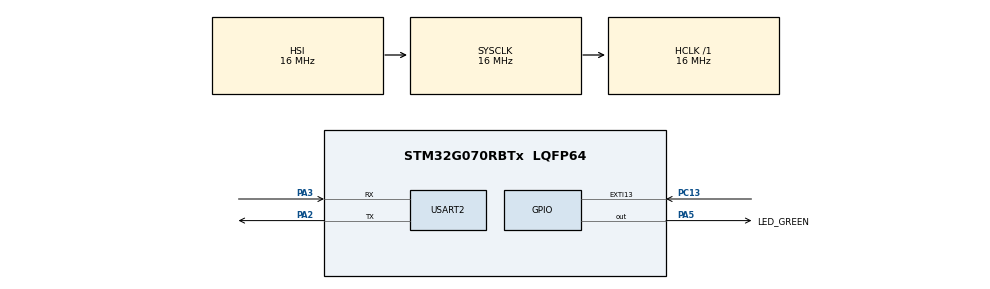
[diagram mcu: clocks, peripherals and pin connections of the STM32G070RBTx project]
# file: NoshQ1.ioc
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Mcu.Family=STM32G0
Mcu.Name=STM32G070RBTx
Mcu.Package=LQFP64
NVIC.TIM3_IRQn=true\:0\:0\:false\:false\:true\:true\:true\:true
PA13.GPIO_Label=TMS
PA13.Mode=Serial_Wire
PA13.Signal=SYS_SWDIO
PA14-BOOT0.GPIO_Label=TCK
PA14-BOOT0.Mode=Serial_Wire
PA14-BOOT0.Signal=SYS_SWCLK
PA2.GPIO_PuPd=GPIO_PULLUP
PA2.Mode=Asynchronous
PA2.Signal=USART2_TX
PA3.GPIO_PuPd=GPIO_PULLUP
PA3.Mode=Asynchronous
PA3.Signal=USART2_RX
PA5.GPIO_Label=LED_GREEN
PA5.GPIO_Speed=GPIO_SPEED_FREQ_HIGH
PA5.Signal=GPIO_Output
PC13.Signal=GPXTI13
PC14-OSC32_IN\ (PC14).Mode=LSE-External-Oscillator
PC14-OSC32_IN\ (PC14).Signal=RCC_OSC32_IN
PC15-OSC32_OUT\ (PC15).Mode=LSE-External-Oscillator
PC15-OSC32_OUT\ (PC15).Signal=RCC_OSC32_OUT
PF0-OSC_IN\ (PF0).GPIO_Label=MCO
PF0-OSC_IN\ (PF0).Mode=HSE-External-Clock-Source
PF0-OSC_IN\ (PF0).Signal=RCC_OSC_IN
ProjectManager.HeapSize=0x200
ProjectManager.StackSize=0x400
ProjectManager.TargetToolchain=STM32CubeIDE
RCC.AHBFreq_Value=16000000
RCC.CortexFreq_Value=16000000
RCC.EXTERNAL_CLOCK_VALUE=12288000
RCC.HCLKFreq_Value=16000000
RCC.HSE_VALUE=8000000
RCC.HSI_VALUE=16000000
RCC.SYSCLKFreq_VALUE=16000000
RCC.VCOOutputFreq_Value=128000000
TIM3.Prescaler=15999
USART2.VirtualMode-Asynchronous=VM_ASYNC
USART2.WordLength=WORDLENGTH_7B
VP_TIM3_VS_ClockSourceINT.Mode=Internal
board=NUCLEO-G070RB

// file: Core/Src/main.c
/* USER CODE BEGIN Header */
/**
  ******************************************************************************
  * @file           : main.c
  * @brief          : Main program body
  ******************************************************************************
  * @attention
  *
  * Copyright (c) 2026 STMicroelectronics.
  * All rights reserved.
  *
  * This software is licensed under terms that can be found in the LICENSE file
  * in the root directory of this software component.
  * If no LICENSE file comes with this software, it is provided AS-IS.
  *
  ******************************************************************************
  */
/* USER CODE END Header */
#include "main.h"

TIM_HandleTypeDef htim3;

UART_HandleTypeDef huart2;

/* USER CODE BEGIN PV */

typedef enum
{
    LED_OFF = 0,
    LED_0_5HZ,
    LED_1HZ,
    LED_2HZ
} LedMode_t;

volatile LedMode_t ledMode = LED_OFF;
volatile uint8_t timerTick = 0;

/* USER CODE END PV */

void SystemClock_Config(void);
static void MX_GPIO_Init(void);
static void MX_TIM3_Init(void);
static void MX_USART2_UART_Init(void);

int main(void)
{

  /* MCU Configuration--------------------------------------------------------*/

  /* Reset of all peripherals, Initializes the Flash interface and the Systick. */
  HAL_Init();

  /* Configure the system clock */
  SystemClock_Config();

  /* Initialize all configured peripherals */
  MX_GPIO_Init();
  MX_TIM3_Init();
  MX_USART2_UART_Init();

  /* USER CODE BEGIN 2 */

  HAL_TIM_Base_Start_IT(&htim3);

  /* USER CODE END 2 */

  /* Infinite loop */
  /* USER CODE BEGIN WHILE */
  while (1)
  {
    HAL_PWR_EnterSLEEPMode(PWR_MAINREGULATOR_ON, PWR_SLEEPENTRY_WFI);

    /* USER CODE END WHILE */

  }
}

void SystemClock_Config(void)
{
  RCC_OscInitTypeDef RCC_OscInitStruct = {0};
  RCC_ClkInitTypeDef RCC_ClkInitStruct = {0};

  /** Configure the main internal regulator output voltage
  */
  HAL_PWREx_ControlVoltageScaling(PWR_REGULATOR_VOLTAGE_SCALE1);

  /** Initializes the RCC Oscillators according to the specified parameters
  * in the RCC_OscInitTypeDef structure.
  */
  RCC_OscInitStruct.OscillatorType = RCC_OSCILLATORTYPE_HSI;
  RCC_OscInitStruct.HSIState = RCC_HSI_ON;
  RCC_OscInitStruct.HSIDiv = RCC_HSI_DIV1;
  RCC_OscInitStruct.HSICalibrationValue = RCC_HSICALIBRATION_DEFAULT;
  RCC_OscInitStruct.PLL.PLLState = RCC_PLL_NONE;
  if (HAL_RCC_OscConfig(&RCC_OscInitStruct) != HAL_OK)
  {
    Error_Handler();
  }

  /** Initializes the CPU, AHB and APB buses clocks
  */
  RCC_ClkInitStruct.ClockType = RCC_CLOCKTYPE_HCLK|RCC_CLOCKTYPE_SYSCLK
                              |RCC_CLOCKTYPE_PCLK1;
  RCC_ClkInitStruct.SYSCLKSource = RCC_SYSCLKSOURCE_HSI;
  RCC_ClkInitStruct.AHBCLKDivider = RCC_SYSCLK_DIV1;
  RCC_ClkInitStruct.APB1CLKDivider = RCC_HCLK_DIV1;

  if (HAL_RCC_ClockConfig(&RCC_ClkInitStruct, FLASH_LATENCY_0) != HAL_OK)
  {
    Error_Handler();
  }
}

static void MX_TIM3_Init(void)
{

  TIM_ClockConfigTypeDef sClockSourceConfig = {0};
  TIM_MasterConfigTypeDef sMasterConfig = {0};

  htim3.Instance = TIM3;
  htim3.Init.Prescaler = 15999;
  htim3.Init.CounterMode = TIM_COUNTERMODE_UP;
  htim3.Init.Period = 249;
  htim3.Init.ClockDivision = TIM_CLOCKDIVISION_DIV1;
  htim3.Init.AutoReloadPreload = TIM_AUTORELOAD_PRELOAD_DISABLE;
  if (HAL_TIM_Base_Init(&htim3) != HAL_OK)
  {
    Error_Handler();
  }
  sClockSourceConfig.ClockSource = TIM_CLOCKSOURCE_INTERNAL;
  if (HAL_TIM_ConfigClockSource(&htim3, &sClockSourceConfig) != HAL_OK)
  {
    Error_Handler();
  }
  sMasterConfig.MasterOutputTrigger = TIM_TRGO_RESET;
  sMasterConfig.MasterSlaveMode = TIM_MASTERSLAVEMODE_DISABLE;
  if (HAL_TIMEx_MasterConfigSynchronization(&htim3, &sMasterConfig) != HAL_OK)
  {
    Error_Handler();
  }

}

static void MX_USART2_UART_Init(void)
{

  huart2.Instance = USART2;
  huart2.Init.BaudRate = 115200;
  huart2.Init.WordLength = UART_WORDLENGTH_7B;
  huart2.Init.StopBits = UART_STOPBITS_1;
  huart2.Init.Parity = UART_PARITY_NONE;
  huart2.Init.Mode = UART_MODE_TX_RX;
  huart2.Init.HwFlowCtl = UART_HWCONTROL_NONE;
  huart2.Init.OverSampling = UART_OVERSAMPLING_16;
  huart2.Init.OneBitSampling = UART_ONE_BIT_SAMPLE_DISABLE;
  huart2.Init.ClockPrescaler = UART_PRESCALER_DIV1;
  huart2.AdvancedInit.AdvFeatureInit = UART_ADVFEATURE_NO_INIT;
  if (HAL_UART_Init(&huart2) != HAL_OK)
  {
    Error_Handler();
  }
  if (HAL_UARTEx_SetTxFifoThreshold(&huart2, UART_TXFIFO_THRESHOLD_1_8) != HAL_OK)
  {
    Error_Handler();
  }
  if (HAL_UARTEx_SetRxFifoThreshold(&huart2, UART_RXFIFO_THRESHOLD_1_8) != HAL_OK)
  {
    Error_Handler();
  }
  if (HAL_UARTEx_DisableFifoMode(&huart2) != HAL_OK)
  {
    Error_Handler();
  }

}

static void MX_GPIO_Init(void)
{
  GPIO_InitTypeDef GPIO_InitStruct = {0};

  /* GPIO Ports Clock Enable */
  __HAL_RCC_GPIOC_CLK_ENABLE();
  __HAL_RCC_GPIOF_CLK_ENABLE();
  __HAL_RCC_GPIOA_CLK_ENABLE();

  /*Configure GPIO pin Output Level */
  HAL_GPIO_WritePin(LED_GREEN_GPIO_Port, LED_GREEN_Pin, GPIO_PIN_RESET);

  /*Configure GPIO pin : PC13 */
  GPIO_InitStruct.Pin = GPIO_PIN_13;
  GPIO_InitStruct.Mode = GPIO_MODE_IT_RISING;
  GPIO_InitStruct.Pull = GPIO_NOPULL;
  HAL_GPIO_Init(GPIOC, &GPIO_InitStruct);

  /*Configure GPIO pin : LED_GREEN_Pin */
  GPIO_InitStruct.Pin = LED_GREEN_Pin;
  GPIO_InitStruct.Mode = GPIO_MODE_OUTPUT_PP;
  GPIO_InitStruct.Pull = GPIO_NOPULL;
  GPIO_InitStruct.Speed = GPIO_SPEED_FREQ_HIGH;
  HAL_GPIO_Init(LED_GREEN_GPIO_Port, &GPIO_InitStruct);

}

/* USER CODE BEGIN 4 */
/* USER CODE BEGIN 4 */

void HAL_GPIO_EXTI_Callback(uint16_t GPIO_Pin)
{
    if (GPIO_Pin == GPIO_PIN_13)
    {
        ledMode++;

        if (ledMode > LED_2HZ)
        {
            ledMode = LED_OFF;
        }

        timerTick = 0;
    }
}

void HAL_TIM_PeriodElapsedCallback(TIM_HandleTypeDef *htim)
{
    if (htim->Instance == TIM3)
    {
        timerTick++;

        switch (ledMode)
        {
            case LED_OFF:
                HAL_GPIO_WritePin(LED_GREEN_GPIO_Port,
                                  LED_GREEN_Pin,
                                  GPIO_PIN_RESET);
                timerTick = 0;
                break;

            case LED_0_5HZ:
                if (timerTick >= 4)
                {
                    HAL_GPIO_TogglePin(LED_GREEN_GPIO_Port,
                                       LED_GREEN_Pin);
                    timerTick = 0;
                }
                break;

            case LED_1HZ:
                if (timerTick >= 2)
                {
                    HAL_GPIO_TogglePin(LED_GREEN_GPIO_Port,
                                       LED_GREEN_Pin);
                    timerTick = 0;
                }
                break;

            case LED_2HZ:
                HAL_GPIO_TogglePin(LED_GREEN_GPIO_Port,
                                   LED_GREEN_Pin);
                timerTick = 0;
                break;

            default:
                break;
        }
    }
}

/* USER CODE END 4 */
/* USER CODE END 4 */

void Error_Handler(void)
{
  __disable_irq();
  while (1)
  {
  }
}
